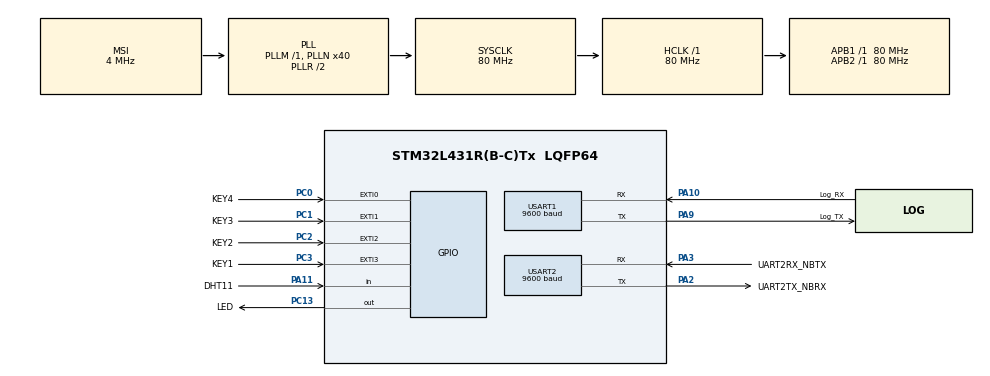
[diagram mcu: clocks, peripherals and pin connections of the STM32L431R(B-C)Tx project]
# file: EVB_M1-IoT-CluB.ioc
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Mcu.Family=STM32L4
Mcu.Name=STM32L431R(B-C)Tx
Mcu.Package=LQFP64
NVIC.EXTI0_IRQn=true\:0\:0\:false\:false\:true\:true
NVIC.EXTI1_IRQn=true\:0\:0\:false\:false\:true\:true
NVIC.EXTI2_IRQn=true\:0\:0\:false\:false\:true\:true
NVIC.EXTI3_IRQn=true\:0\:0\:false\:false\:true\:true
NVIC.PriorityGroup=NVIC_PRIORITYGROUP_4
NVIC.RCC_IRQn=true\:0\:0\:false\:false\:true\:true
NVIC.USART1_IRQn=true\:0\:0\:false\:false\:true\:true
NVIC.USART2_IRQn=true\:0\:0\:false\:false\:true\:true
PA10.GPIO_Label=Log_RX
PA10.Mode=Asynchronous
PA10.Signal=USART1_RX
PA11.GPIO_Label=DHT11
PA11.GPIO_PuPd=GPIO_PULLUP
PA11.Signal=GPIO_Input
PA2.GPIO_Label=UART2TX_NBRX
PA2.Mode=Asynchronous
PA2.Signal=USART2_TX
PA3.GPIO_Label=UART2RX_NBTX
PA3.Mode=Asynchronous
PA3.Signal=USART2_RX
PA9.GPIO_Label=Log_TX
PA9.Mode=Asynchronous
PA9.Signal=USART1_TX
PC0.GPIO_Label=KEY4
PC0.GPIO_ModeDefaultEXTI=GPIO_MODE_IT_FALLING
PC0.GPIO_PuPd=GPIO_PULLUP
PC0.Signal=GPXTI0
PC1.GPIO_Label=KEY3
PC1.GPIO_ModeDefaultEXTI=GPIO_MODE_IT_FALLING
PC1.GPIO_PuPd=GPIO_PULLUP
PC1.Signal=GPXTI1
PC13.GPIO_Label=LED
PC13.Signal=GPIO_Output
PC2.GPIO_Label=KEY2
PC2.GPIO_ModeDefaultEXTI=GPIO_MODE_IT_FALLING
PC2.GPIO_PuPd=GPIO_PULLUP
PC2.Signal=GPXTI2
PC3.GPIO_Label=KEY1
PC3.GPIO_ModeDefaultEXTI=GPIO_MODE_IT_FALLING
PC3.GPIO_PuPd=GPIO_PULLUP
PC3.Signal=GPXTI3
ProjectManager.HeapSize=0x200
ProjectManager.StackSize=0x400
ProjectManager.TargetToolchain=MDK-ARM V5
RCC.AHBFreq_Value=80000000
RCC.APB1Freq_Value=80000000
RCC.APB1TimFreq_Value=80000000
RCC.APB2Freq_Value=80000000
RCC.APB2TimFreq_Value=80000000
RCC.CortexFreq_Value=80000000
RCC.HCLKFreq_Value=80000000
RCC.HSE_VALUE=8000000
RCC.HSI48_VALUE=48000000
RCC.HSI_VALUE=16000000
RCC.LSE_VALUE=32768
RCC.MSI_VALUE=4000000
RCC.PLLN=40
RCC.SYSCLKFreq_VALUE=80000000
RCC.SYSCLKSource=RCC_SYSCLKSOURCE_PLLCLK
RCC.VCOOutputFreq_Value=160000000
USART1.BaudRate=9600
USART1.VirtualMode-Asynchronous=VM_ASYNC
USART2.BaudRate=9600
USART2.VirtualMode-Asynchronous=VM_ASYNC
board=custom

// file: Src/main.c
/**
  ******************************************************************************
  * @file           : main.c
  * @brief          : Main program body
  ******************************************************************************
  ** This notice applies to any and all portions of this file
  * that are not between comment pairs USER CODE BEGIN and
  * USER CODE END. Other portions of this file, whether
  * inserted by the user or by software development tools
  * are owned by their respective copyright owners.
  *
  * COPYRIGHT(c) 2018 STMicroelectronics
  *
  * Redistribution and use in source and binary forms, with or without modification,
  * are permitted provided that the following conditions are met:
  *   1. Redistributions of source code must retain the above copyright notice,
  *      this list of conditions and the following disclaimer.
  *   2. Redistributions in binary form must reproduce the above copyright notice,
  *      this list of conditions and the following disclaimer in the documentation
  *      and/or other materials provided with the distribution.
  *   3. Neither the name of STMicroelectronics nor the names of its contributors
  *      may be used to endorse or promote products derived from this software
  *      without specific prior written permission.
  *
  * THIS SOFTWARE IS PROVIDED BY THE COPYRIGHT HOLDERS AND CONTRIBUTORS "AS IS"
  * AND ANY EXPRESS OR IMPLIED WARRANTIES, INCLUDING, BUT NOT LIMITED TO, THE
  * IMPLIED WARRANTIES OF MERCHANTABILITY AND FITNESS FOR A PARTICULAR PURPOSE ARE
  * DISCLAIMED. IN NO EVENT SHALL THE COPYRIGHT HOLDER OR CONTRIBUTORS BE LIABLE
  * FOR ANY DIRECT, INDIRECT, INCIDENTAL, SPECIAL, EXEMPLARY, OR CONSEQUENTIAL
  * DAMAGES (INCLUDING, BUT NOT LIMITED TO, PROCUREMENT OF SUBSTITUTE GOODS OR
  * SERVICES; LOSS OF USE, DATA, OR PROFITS; OR BUSINESS INTERRUPTION) HOWEVER
  * CAUSED AND ON ANY THEORY OF LIABILITY, WHETHER IN CONTRACT, STRICT LIABILITY,
  * OR TORT (INCLUDING NEGLIGENCE OR OTHERWISE) ARISING IN ANY WAY OUT OF THE USE
  * OF THIS SOFTWARE, EVEN IF ADVISED OF THE POSSIBILITY OF SUCH DAMAGE.
  *
  ******************************************************************************
  */
#include "main.h"
#include "stm32l4xx_hal.h"
#include "usart.h"
#include "gpio.h"

/* USER CODE BEGIN Includes */
#include "key.h"
#include "led.h"
#include "string.h"
#include "nbiot.h"
#include "dht11.h"
#include "hexstring.h"
/* USER CODE END Includes */

/* USER CODE BEGIN PV */
/* Private variables ---------------------------------------------------------*/

/* USER CODE END PV */

void SystemClock_Config(void);

/* USER CODE BEGIN PFP */
/* Private function prototypes -----------------------------------------------*/

/* USER CODE END PFP */

int main(void)
{
  /* USER CODE BEGIN 1 */
	uint8_t msgReceive[512],msgSend[9]={0};
	DHT11_Data_TypeDef DHT11_Data;
	msg_for_DHT11       DHT11_send;
  /* USER CODE END 1 */

  /* MCU Configuration----------------------------------------------------------*/

  /* Reset of all peripherals, Initializes the Flash interface and the Systick. */
  HAL_Init();

  /* Configure the system clock */
  SystemClock_Config();

  /* Initialize all configured peripherals */
  MX_GPIO_Init();
  MX_USART1_UART_Init();
  MX_USART2_UART_Init();
  /* USER CODE BEGIN 2 */
  HAL_UART_Receive_IT(&huart2, (uint8_t *)aRxBuffer, 1);
  NB_InitConnect();
  DHT11_Init();
  /* USER CODE END 2 */

  /* Infinite loop */
  /* USER CODE BEGIN WHILE */
  while (1)
  {
	switch(KeyScan())
	{
		case KEY1_VALUE:
			NB_SetCDPServer((uint8_t *)"139.159.140.34",(uint8_t *)"5683");
			break;
		case KEY2_VALUE:
			if(DHT11_Read_TempAndHumidity(&DHT11_Data)==SUCCESS)
			{
				printf("读取DHT11成功!-->湿度为%.1f ％RH ，温度为 %.1f℃ \n",DHT11_Data.humidity,DHT11_Data.temperature);
			}
			sprintf(DHT11_send.temp, "%.1f", DHT11_Data.temperature);
			sprintf(DHT11_send.hum, "%.1f", DHT11_Data.humidity);
			ByteToString((unsigned char *)&DHT11_send, (char*)msgSend, 8);
			NB_SendMsgToServer((uint8_t *)&msgSend);
			HAL_Delay(1200);
			break;
		default: 							;
			break;
	}
	//数据下发前的30s内需要有数据上报
	if(NB_ReceiveMsg(msgReceive)==SUCCESS)
		printf("msgReceive:%s",msgReceive);
  /* USER CODE END WHILE */

  }

}

void SystemClock_Config(void)
{

  RCC_OscInitTypeDef RCC_OscInitStruct;
  RCC_ClkInitTypeDef RCC_ClkInitStruct;
  RCC_PeriphCLKInitTypeDef PeriphClkInit;

    /**Initializes the CPU, AHB and APB busses clocks
    */
  RCC_OscInitStruct.OscillatorType = RCC_OSCILLATORTYPE_MSI;
  RCC_OscInitStruct.MSIState = RCC_MSI_ON;
  RCC_OscInitStruct.MSICalibrationValue = 0;
  RCC_OscInitStruct.MSIClockRange = RCC_MSIRANGE_6;
  RCC_OscInitStruct.PLL.PLLState = RCC_PLL_ON;
  RCC_OscInitStruct.PLL.PLLSource = RCC_PLLSOURCE_MSI;
  RCC_OscInitStruct.PLL.PLLM = 1;
  RCC_OscInitStruct.PLL.PLLN = 40;
  RCC_OscInitStruct.PLL.PLLP = RCC_PLLP_DIV7;
  RCC_OscInitStruct.PLL.PLLQ = RCC_PLLQ_DIV2;
  RCC_OscInitStruct.PLL.PLLR = RCC_PLLR_DIV2;
  if (HAL_RCC_OscConfig(&RCC_OscInitStruct) != HAL_OK)
  {
    _Error_Handler(__FILE__, __LINE__);
  }

    /**Initializes the CPU, AHB and APB busses clocks
    */
  RCC_ClkInitStruct.ClockType = RCC_CLOCKTYPE_HCLK|RCC_CLOCKTYPE_SYSCLK
                              |RCC_CLOCKTYPE_PCLK1|RCC_CLOCKTYPE_PCLK2;
  RCC_ClkInitStruct.SYSCLKSource = RCC_SYSCLKSOURCE_PLLCLK;
  RCC_ClkInitStruct.AHBCLKDivider = RCC_SYSCLK_DIV1;
  RCC_ClkInitStruct.APB1CLKDivider = RCC_HCLK_DIV1;
  RCC_ClkInitStruct.APB2CLKDivider = RCC_HCLK_DIV1;

  if (HAL_RCC_ClockConfig(&RCC_ClkInitStruct, FLASH_LATENCY_4) != HAL_OK)
  {
    _Error_Handler(__FILE__, __LINE__);
  }

  PeriphClkInit.PeriphClockSelection = RCC_PERIPHCLK_USART1|RCC_PERIPHCLK_USART2;
  PeriphClkInit.Usart1ClockSelection = RCC_USART1CLKSOURCE_PCLK2;
  PeriphClkInit.Usart2ClockSelection = RCC_USART2CLKSOURCE_PCLK1;
  if (HAL_RCCEx_PeriphCLKConfig(&PeriphClkInit) != HAL_OK)
  {
    _Error_Handler(__FILE__, __LINE__);
  }

    /**Configure the main internal regulator output voltage
    */
  if (HAL_PWREx_ControlVoltageScaling(PWR_REGULATOR_VOLTAGE_SCALE1) != HAL_OK)
  {
    _Error_Handler(__FILE__, __LINE__);
  }

    /**Configure the Systick interrupt time
    */
  HAL_SYSTICK_Config(HAL_RCC_GetHCLKFreq()/1000);

    /**Configure the Systick
    */
  HAL_SYSTICK_CLKSourceConfig(SYSTICK_CLKSOURCE_HCLK);

  /* SysTick_IRQn interrupt configuration */
  HAL_NVIC_SetPriority(SysTick_IRQn, 0, 0);
}

void _Error_Handler(char *file, int line)
{
  while(1)
  {
  }
}

/************************ (C) COPYRIGHT STMicroelectronics *****END OF FILE****/
